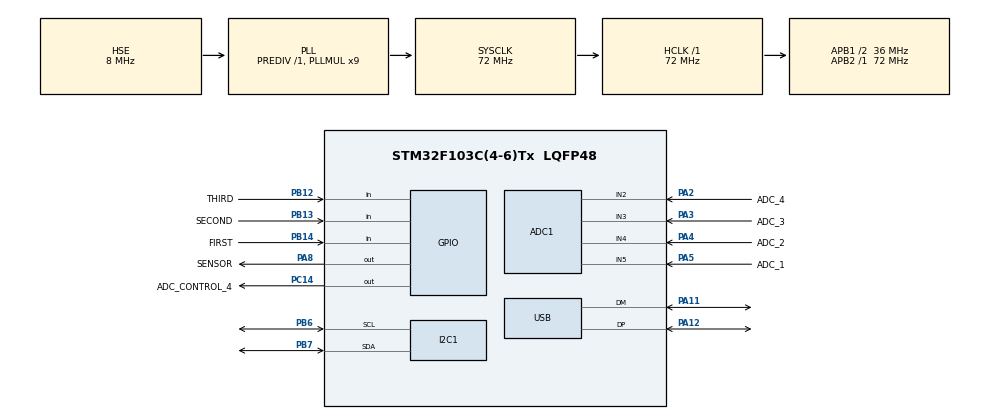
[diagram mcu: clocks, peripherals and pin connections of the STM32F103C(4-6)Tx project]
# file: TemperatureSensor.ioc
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ADC1.Channel-0\#ChannelRegularConversion=ADC_CHANNEL_5
ADC1.Channel-1\#ChannelRegularConversion=ADC_CHANNEL_4
ADC1.Channel-2\#ChannelRegularConversion=ADC_CHANNEL_3
ADC1.Channel-3\#ChannelRegularConversion=ADC_CHANNEL_2
ADC1.ContinuousConvMode=ENABLE
ADC1.NbrOfConversion=4
ADC1.NbrOfConversionFlag=1
ADC1.Rank-0\#ChannelRegularConversion=1
ADC1.Rank-1\#ChannelRegularConversion=2
ADC1.Rank-2\#ChannelRegularConversion=3
ADC1.Rank-3\#ChannelRegularConversion=4
ADC1.SamplingTime-0\#ChannelRegularConversion=ADC_SAMPLETIME_1CYCLE_5
ADC1.SamplingTime-1\#ChannelRegularConversion=ADC_SAMPLETIME_1CYCLE_5
ADC1.SamplingTime-2\#ChannelRegularConversion=ADC_SAMPLETIME_1CYCLE_5
ADC1.SamplingTime-3\#ChannelRegularConversion=ADC_SAMPLETIME_1CYCLE_5
ADC1.master=1
I2C1.OwnAddress=0x12
Mcu.Family=STM32F1
Mcu.Name=STM32F103C(4-6)Tx
Mcu.Package=LQFP48
NVIC.I2C1_ER_IRQn=true\:0\:0\:false\:false\:true\:true\:true\:true
NVIC.I2C1_EV_IRQn=true\:0\:0\:false\:false\:true\:true\:true\:true
NVIC.PriorityGroup=NVIC_PRIORITYGROUP_4
NVIC.USB_LP_CAN1_RX0_IRQn=true\:0\:0\:false\:false\:true\:false\:true\:true
PA11.Mode=Device
PA11.Signal=USB_DM
PA12.Mode=Device
PA12.Signal=USB_DP
PA13.Mode=Serial_Wire
PA13.Signal=SYS_JTMS-SWDIO
PA14.Mode=Serial_Wire
PA14.Signal=SYS_JTCK-SWCLK
PA2.GPIO_Label=ADC_4
PA2.Signal=ADCx_IN2
PA3.GPIO_Label=ADC_3
PA3.Signal=ADCx_IN3
PA4.GPIO_Label=ADC_2
PA4.Signal=ADCx_IN4
PA5.GPIO_Label=ADC_1
PA5.Signal=ADCx_IN5
PA8.GPIO_Label=SENSOR
PA8.Signal=GPIO_Output
PB12.GPIO_Label=THIRD
PB12.Signal=GPIO_Input
PB13.GPIO_Label=SECOND
PB13.Signal=GPIO_Input
PB14.GPIO_Label=FIRST
PB14.Signal=GPIO_Input
PB6.Mode=I2C
PB6.Signal=I2C1_SCL
PB7.Mode=I2C
PB7.Signal=I2C1_SDA
PC14-OSC32_IN.GPIO_Label=ADC_CONTROL_4
PC14-OSC32_IN.Signal=GPIO_Output
PD0-OSC_IN.Mode=HSE-External-Oscillator
PD0-OSC_IN.Signal=RCC_OSC_IN
PD1-OSC_OUT.Mode=HSE-External-Oscillator
PD1-OSC_OUT.Signal=RCC_OSC_OUT
ProjectManager.HeapSize=0x200
ProjectManager.StackSize=0x400
ProjectManager.TargetToolchain=STM32CubeIDE
RCC.ADCPresc=RCC_ADCPCLK2_DIV6
RCC.AHBFreq_Value=72000000
RCC.APB1CLKDivider=RCC_HCLK_DIV2
RCC.APB1Freq_Value=36000000
RCC.APB1TimFreq_Value=72000000
RCC.APB2Freq_Value=72000000
RCC.APB2TimFreq_Value=72000000
RCC.HCLKFreq_Value=72000000
RCC.PLLMUL=RCC_PLL_MUL9
RCC.PLLSourceVirtual=RCC_PLLSOURCE_HSE
RCC.SYSCLKFreq_VALUE=72000000
RCC.SYSCLKSource=RCC_SYSCLKSOURCE_PLLCLK
RCC.USBFreq_Value=48000000
RCC.USBPrescaler=RCC_USBCLKSOURCE_PLL_DIV1_5
SH.ADCx_IN2.0=ADC1_IN2,IN2
SH.ADCx_IN3.0=ADC2_IN3
SH.ADCx_IN3.1=ADC1_IN3,IN3
SH.ADCx_IN4.0=ADC1_IN4,IN4
SH.ADCx_IN5.0=ADC1_IN5,IN5
TIM2.Prescaler=71
USB_DEVICE.APP_RX_DATA_SIZE=128
USB_DEVICE.APP_TX_DATA_SIZE=128
USB_DEVICE.CLASS_NAME_FS=CDC
USB_DEVICE.VirtualMode=Cdc
USB_DEVICE.VirtualModeFS=Cdc_FS
VP_TIM2_VS_ClockSourceINT.Mode=Internal
VP_USB_DEVICE_VS_USB_DEVICE_CDC_FS.Mode=CDC_FS
board=custom

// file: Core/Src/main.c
/* USER CODE BEGIN Header */
/**
  ******************************************************************************
  * @file           : main.c
  * @brief          : Main program body
  ******************************************************************************
  * @attention
  *
  * Copyright (c) 2023 STMicroelectronics.
  * All rights reserved.
  *
  * This software is licensed under terms that can be found in the LICENSE file
  * in the root directory of this software component.
  * If no LICENSE file comes with this software, it is provided AS-IS.
  *
  ******************************************************************************
  */
/* USER CODE END Header */
#include "main.h"
#include "usb_device.h"

/* USER CODE BEGIN Includes */
#include "Communication.h"
#include "I2CCommunicationConfig.h"
#include "I2CSlave.h"
#include "DataType.h"
#include "TimeTrigger.h"
//#include "AddressExtractor.h"
#include "Command.h"
#include "CommandConfig.h"
#include "AnalogInput.h"
/* USER CODE END Includes */

ADC_HandleTypeDef hadc1;

I2C_HandleTypeDef hi2c1;

TIM_HandleTypeDef htim2;

/* USER CODE BEGIN PV */
Communication_Instance *sI2CCommunicationIns;
Queue *m_sTransmitQueue;
TimeTrigger_Ins ins;
//uint32_t u32CurrentTick;

/* USER CODE END PV */

void SystemClock_Config(void);
static void MX_GPIO_Init(void);
static void MX_I2C1_Init(void);
static void MX_TIM2_Init(void);
static void MX_ADC1_Init(void);

/* USER CODE BEGIN 0 */
void ADC_Select(uint32_t channel)
{
	ADC_ChannelConfTypeDef sConfig = {0};
	sConfig.Channel = channel;
	sConfig.Rank = ADC_REGULAR_RANK_1;
	sConfig.SamplingTime = ADC_SAMPLETIME_1CYCLE_5;
	if (HAL_ADC_ConfigChannel(&hadc1, &sConfig) != HAL_OK)
	{
		Error_Handler();
	}
}

float AD1_Handler(AnalogInput_Instance *sIns)
{
	ADC_Select(ADC_CHANNEL_5);
	HAL_ADC_Start(&hadc1);
	HAL_Delay(100);
	float result = (3.3 / 4095) * HAL_ADC_GetValue(&hadc1);
	HAL_ADC_Stop(&hadc1);
	return result;
}

float AD2_Handler(AnalogInput_Instance *sIns)
{
	ADC_Select(ADC_CHANNEL_4);
	HAL_ADC_Start(&hadc1);
//	HAL_ADC_PollForConversion(&hadc1, 100);
	HAL_Delay(100);
	float result = (3.3 / 4095) * HAL_ADC_GetValue(&hadc1);
	HAL_ADC_Stop(&hadc1);
	return result;
}

//float AD3_Handler(AnalogInput_Instance *sIns)
//{
//	ADC_Select(ADC_CHANNEL_3);
//	HAL_ADC_Start(&hadc1);
////	HAL_ADC_PollForConversion(&hadc1, 100);
//	HAL_Delay(100);
//	float result = (3.3 / 4095) * HAL_ADC_GetValue(&hadc1);
//	HAL_ADC_Stop(&hadc1);
//	return result;
//}

float AD4_Handler(AnalogInput_Instance *sIns)
{
	// turn on the control signal
	HAL_GPIO_WritePin(ADC_CONTROL_4_GPIO_Port, ADC_CONTROL_4_Pin, GPIO_PIN_SET);
	HAL_Delay(200);
	ADC_Select(ADC_CHANNEL_2);
	HAL_ADC_Start(&hadc1);
	HAL_Delay(100);
	float result = (3.3 / 4095) * HAL_ADC_GetValue(&hadc1);
	HAL_ADC_Stop(&hadc1);
	// turn off the control signal
	HAL_GPIO_WritePin(ADC_CONTROL_4_GPIO_Port, ADC_CONTROL_4_Pin, GPIO_PIN_RESET);
	return result;
}

/* USER CODE END 0 */

int main(void)
{
  /* USER CODE BEGIN 1 */
	ins.u32TriggeredTime = 5000;
//	I2CAddres_SetFirstBit(FIRST_GPIO_Port, FIRST_Pin);
//	I2CAddres_SetSecondBit(SECOND_GPIO_Port, SECOND_Pin);
//	I2CAddres_SetThirdBit(THIRD_GPIO_Port, THIRD_Pin);
  /* USER CODE END 1 */

  /* MCU Configuration--------------------------------------------------------*/

  /* Reset of all peripherals, Initializes the Flash interface and the Systick. */
  HAL_Init();

  /* Configure the system clock */
  SystemClock_Config();

  /* Initialize all configured peripherals */
  MX_GPIO_Init();
  MX_I2C1_Init();
  MX_TIM2_Init();
  MX_ADC1_Init();
  MX_USB_DEVICE_Init();
  /* USER CODE BEGIN 2 */
  m_sTransmitQueue = Queue_Init();
  sI2CCommunicationIns = Communication_Init();
  Communication_SetTransmitFunction(sI2CCommunicationIns, I2C_TransmitFunction);
  Communication_SetHandlerFunction(sI2CCommunicationIns, I2C_HandlerFunction);

  HAL_I2C_EnableListen_IT(&hi2c1);

  HAL_TIM_Base_Start(&htim2);
  TimeTrigger_Reset(&ins);

  Command_Init();
  Command_RegisterDefaultCallback(Command_DefaultResponse);
  Command_Register("ai", Command_AnalogInputConfig, "Analog Input: "
		  "Action: info, on, off, out-min-max, in-max");
  Command_Register("trigger", Command_TimeTrigger, "Time Trigger setting: "
		  "Run the trigger command for obtaining the trigger time value,"
		  "Run the trigger with an integer for setting new trigger time value in ms");
//  Command_Register("i2c-address", Command_AddressInfo, "Get the i2c-address of "
//		  "the slave (cannot be modified at the run-time, must reset before loading "
//		  "the new value");

  AnalogInput_Init(3);
//  AnalogInput_TurnOff(0);
//  AnalogInput_SetType(0, AI_INT16);
  AnalogInput_SetMinAndMax(0, 1, 1000);
  AnalogInput_SetHandler(0, AD1_Handler);

//  AnalogInput_TurnOff(1);
  AnalogInput_SetHandler(1, AD2_Handler);
  AnalogInput_SetMinAndMax(1, 1, 500);
//  AnalogInput_SetHandler(0, AD1_Handler);

//  AnalogInput_TurnOff(2);
  AnalogInput_SetMinAndMax(2, 0.05, 10);
  AnalogInput_SetHandler(2, AD2_Handler);

//  AnalogInput_TurnOff(3);
//  AnalogInput_SetHandler(3, AD4_Handler);
  /* USER CODE END 2 */

  /* Infinite loop */
  /* USER CODE BEGIN WHILE */
  while (1)
  {
	  Command_Update();
	  Communication_Update(sI2CCommunicationIns);
	  if (TimeTrigger_IsTrigger(&ins) == TIME_TRIGGERD)
	  {
		  TimeTrigger_Reset(&ins);
		  AnalogInput_Update();
  	  }
    /* USER CODE END WHILE */

  }
}

void SystemClock_Config(void)
{
  RCC_OscInitTypeDef RCC_OscInitStruct = {0};
  RCC_ClkInitTypeDef RCC_ClkInitStruct = {0};
  RCC_PeriphCLKInitTypeDef PeriphClkInit = {0};

  /** Initializes the RCC Oscillators according to the specified parameters
  * in the RCC_OscInitTypeDef structure.
  */
  RCC_OscInitStruct.OscillatorType = RCC_OSCILLATORTYPE_HSE;
  RCC_OscInitStruct.HSEState = RCC_HSE_ON;
  RCC_OscInitStruct.HSEPredivValue = RCC_HSE_PREDIV_DIV1;
  RCC_OscInitStruct.HSIState = RCC_HSI_ON;
  RCC_OscInitStruct.PLL.PLLState = RCC_PLL_ON;
  RCC_OscInitStruct.PLL.PLLSource = RCC_PLLSOURCE_HSE;
  RCC_OscInitStruct.PLL.PLLMUL = RCC_PLL_MUL9;
  if (HAL_RCC_OscConfig(&RCC_OscInitStruct) != HAL_OK)
  {
    Error_Handler();
  }

  /** Initializes the CPU, AHB and APB buses clocks
  */
  RCC_ClkInitStruct.ClockType = RCC_CLOCKTYPE_HCLK|RCC_CLOCKTYPE_SYSCLK
                              |RCC_CLOCKTYPE_PCLK1|RCC_CLOCKTYPE_PCLK2;
  RCC_ClkInitStruct.SYSCLKSource = RCC_SYSCLKSOURCE_PLLCLK;
  RCC_ClkInitStruct.AHBCLKDivider = RCC_SYSCLK_DIV1;
  RCC_ClkInitStruct.APB1CLKDivider = RCC_HCLK_DIV2;
  RCC_ClkInitStruct.APB2CLKDivider = RCC_HCLK_DIV1;

  if (HAL_RCC_ClockConfig(&RCC_ClkInitStruct, FLASH_LATENCY_2) != HAL_OK)
  {
    Error_Handler();
  }
  PeriphClkInit.PeriphClockSelection = RCC_PERIPHCLK_ADC|RCC_PERIPHCLK_USB;
  PeriphClkInit.AdcClockSelection = RCC_ADCPCLK2_DIV6;
  PeriphClkInit.UsbClockSelection = RCC_USBCLKSOURCE_PLL_DIV1_5;
  if (HAL_RCCEx_PeriphCLKConfig(&PeriphClkInit) != HAL_OK)
  {
    Error_Handler();
  }
}

static void MX_ADC1_Init(void)
{

  ADC_ChannelConfTypeDef sConfig = {0};

  /** Common config
  */
  hadc1.Instance = ADC1;
  hadc1.Init.ScanConvMode = ADC_SCAN_ENABLE;
  hadc1.Init.ContinuousConvMode = ENABLE;
  hadc1.Init.DiscontinuousConvMode = DISABLE;
  hadc1.Init.ExternalTrigConv = ADC_SOFTWARE_START;
  hadc1.Init.DataAlign = ADC_DATAALIGN_RIGHT;
  hadc1.Init.NbrOfConversion = 4;
  if (HAL_ADC_Init(&hadc1) != HAL_OK)
  {
    Error_Handler();
  }

  /** Configure Regular Channel
  */
  sConfig.Channel = ADC_CHANNEL_5;
  sConfig.Rank = ADC_REGULAR_RANK_1;
  sConfig.SamplingTime = ADC_SAMPLETIME_1CYCLE_5;
  if (HAL_ADC_ConfigChannel(&hadc1, &sConfig) != HAL_OK)
  {
    Error_Handler();
  }

  /** Configure Regular Channel
  */
  sConfig.Channel = ADC_CHANNEL_4;
  sConfig.Rank = ADC_REGULAR_RANK_2;
  if (HAL_ADC_ConfigChannel(&hadc1, &sConfig) != HAL_OK)
  {
    Error_Handler();
  }

  /** Configure Regular Channel
  */
  sConfig.Channel = ADC_CHANNEL_3;
  sConfig.Rank = ADC_REGULAR_RANK_3;
  if (HAL_ADC_ConfigChannel(&hadc1, &sConfig) != HAL_OK)
  {
    Error_Handler();
  }

  /** Configure Regular Channel
  */
  sConfig.Channel = ADC_CHANNEL_2;
  sConfig.Rank = ADC_REGULAR_RANK_4;
  if (HAL_ADC_ConfigChannel(&hadc1, &sConfig) != HAL_OK)
  {
    Error_Handler();
  }

}

static void MX_I2C1_Init(void)
{

  /* USER CODE BEGIN I2C1_Init 0 */
	uint32_t address = (HAL_GPIO_ReadPin(FIRST_GPIO_Port, FIRST_Pin) |
			HAL_GPIO_ReadPin(SECOND_GPIO_Port, SECOND_Pin) << 1 |
			HAL_GPIO_ReadPin(THIRD_GPIO_Port, THIRD_Pin) << 2) & 0x07;
  /* USER CODE END I2C1_Init 0 */

  hi2c1.Instance = I2C1;
  hi2c1.Init.ClockSpeed = 100000;
  hi2c1.Init.DutyCycle = I2C_DUTYCYCLE_2;
  hi2c1.Init.OwnAddress1 = address << 1;
  hi2c1.Init.AddressingMode = I2C_ADDRESSINGMODE_7BIT;
  hi2c1.Init.DualAddressMode = I2C_DUALADDRESS_DISABLE;
  hi2c1.Init.OwnAddress2 = 0;
  hi2c1.Init.GeneralCallMode = I2C_GENERALCALL_DISABLE;
  hi2c1.Init.NoStretchMode = I2C_NOSTRETCH_DISABLE;
  if (HAL_I2C_Init(&hi2c1) != HAL_OK)
  {
    Error_Handler();
  }
  /* USER CODE BEGIN I2C1_Init 2 */
//  hi2c1.Init.OwnAddress1 = address << 1;
  /* USER CODE END I2C1_Init 2 */

}

static void MX_TIM2_Init(void)
{

  TIM_ClockConfigTypeDef sClockSourceConfig = {0};
  TIM_MasterConfigTypeDef sMasterConfig = {0};

  htim2.Instance = TIM2;
  htim2.Init.Prescaler = 71;
  htim2.Init.CounterMode = TIM_COUNTERMODE_UP;
  htim2.Init.Period = 65535;
  htim2.Init.ClockDivision = TIM_CLOCKDIVISION_DIV1;
  htim2.Init.AutoReloadPreload = TIM_AUTORELOAD_PRELOAD_DISABLE;
  if (HAL_TIM_Base_Init(&htim2) != HAL_OK)
  {
    Error_Handler();
  }
  sClockSourceConfig.ClockSource = TIM_CLOCKSOURCE_INTERNAL;
  if (HAL_TIM_ConfigClockSource(&htim2, &sClockSourceConfig) != HAL_OK)
  {
    Error_Handler();
  }
  sMasterConfig.MasterOutputTrigger = TIM_TRGO_RESET;
  sMasterConfig.MasterSlaveMode = TIM_MASTERSLAVEMODE_DISABLE;
  if (HAL_TIMEx_MasterConfigSynchronization(&htim2, &sMasterConfig) != HAL_OK)
  {
    Error_Handler();
  }

}

static void MX_GPIO_Init(void)
{
  GPIO_InitTypeDef GPIO_InitStruct = {0};

  /* GPIO Ports Clock Enable */
  __HAL_RCC_GPIOC_CLK_ENABLE();
  __HAL_RCC_GPIOD_CLK_ENABLE();
  __HAL_RCC_GPIOA_CLK_ENABLE();
  __HAL_RCC_GPIOB_CLK_ENABLE();

  /*Configure GPIO pin Output Level */
  HAL_GPIO_WritePin(ADC_CONTROL_4_GPIO_Port, ADC_CONTROL_4_Pin, GPIO_PIN_RESET);

  /*Configure GPIO pin Output Level */
  HAL_GPIO_WritePin(SENSOR_GPIO_Port, SENSOR_Pin, GPIO_PIN_RESET);

  /*Configure GPIO pin : ADC_CONTROL_4_Pin */
  GPIO_InitStruct.Pin = ADC_CONTROL_4_Pin;
  GPIO_InitStruct.Mode = GPIO_MODE_OUTPUT_PP;
  GPIO_InitStruct.Pull = GPIO_NOPULL;
  GPIO_InitStruct.Speed = GPIO_SPEED_FREQ_LOW;
  HAL_GPIO_Init(ADC_CONTROL_4_GPIO_Port, &GPIO_InitStruct);

  /*Configure GPIO pin : ADC_3_Pin */
  GPIO_InitStruct.Pin = ADC_3_Pin;
  GPIO_InitStruct.Mode = GPIO_MODE_ANALOG;
  HAL_GPIO_Init(ADC_3_GPIO_Port, &GPIO_InitStruct);

  /*Configure GPIO pins : THIRD_Pin SECOND_Pin FIRST_Pin */
  GPIO_InitStruct.Pin = THIRD_Pin|SECOND_Pin|FIRST_Pin;
  GPIO_InitStruct.Mode = GPIO_MODE_INPUT;
  GPIO_InitStruct.Pull = GPIO_NOPULL;
  HAL_GPIO_Init(GPIOB, &GPIO_InitStruct);

  /*Configure GPIO pin : SENSOR_Pin */
  GPIO_InitStruct.Pin = SENSOR_Pin;
  GPIO_InitStruct.Mode = GPIO_MODE_OUTPUT_PP;
  GPIO_InitStruct.Pull = GPIO_NOPULL;
  GPIO_InitStruct.Speed = GPIO_SPEED_FREQ_LOW;
  HAL_GPIO_Init(SENSOR_GPIO_Port, &GPIO_InitStruct);

}

void Error_Handler(void)
{
  __disable_irq();
  while (1)
  {
  }
}
